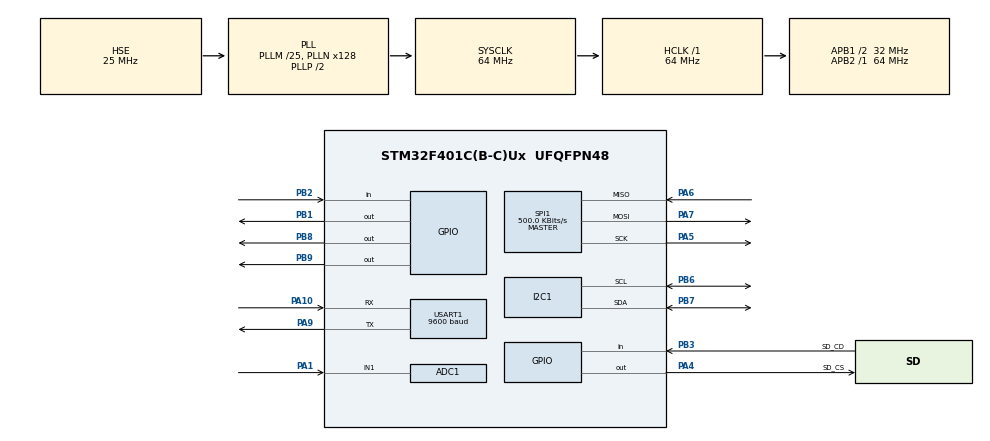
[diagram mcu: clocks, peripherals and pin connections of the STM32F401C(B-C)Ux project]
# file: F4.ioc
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Mcu.Family=STM32F4
PA6.Mode=Full_Duplex_Master
RCC.CortexFreq_Value=64000000
SPI1.VirtualType=VM_MASTER
USART1.BaudRate=9600
RCC.SYSCLKSource=RCC_SYSCLKSOURCE_PLLCLK
ProjectManager.StackSize=0x400
VP_FREERTOS_VS_CMSIS_V2.Mode=CMSIS_V2
NVIC.ADC_IRQn=true\:5\:0\:false\:true\:true\:2\:true\:true\:true
PH0\ -\ OSC_IN.Signal=RCC_OSC_IN
SPI1.Direction=SPI_DIRECTION_2LINES
RCC.HCLKFreq_Value=64000000
RCC.APB2TimFreq_Value=64000000
PB6.Signal=I2C1_SCL
PB6.Mode=I2C
SPI1.CalculateBaudRate=500.0 KBits/s
FREERTOS.configMINIMAL_STACK_SIZE=64
RCC.AHBFreq_Value=64000000
ADC1.Channel-0\#ChannelRegularConversion=ADC_CHANNEL_1
RCC.HSE_VALUE=25000000
PB2.Signal=GPIO_Input
PC14-OSC32_IN.Mode=LSE-External-Oscillator
PA14.Mode=Serial_Wire
PB7.Signal=I2C1_SDA
ADC1.SamplingTime-0\#ChannelRegularConversion=ADC_SAMPLETIME_3CYCLES
PB9.Signal=GPIO_Output
Mcu.Package=UFQFPN48
PB1.Signal=GPIO_Output
PA6.Signal=SPI1_MISO
NVIC.TimeBase=TIM3_IRQn
NVIC.TimeBaseIP=TIM3
PA10.Signal=USART1_RX
SH.ADCx_IN1.0=ADC1_IN1,IN1
RCC.APB1TimFreq_Value=64000000
NVIC.USART1_IRQn=true\:5\:0\:true\:true\:true\:1\:false\:true\:true
SPI1.BaudRatePrescaler=SPI_BAUDRATEPRESCALER_128
PA4.GPIO_Label=SD_CS
PA5.Mode=Full_Duplex_Master
PB3.GPIO_Label=SD_CD
RCC.PLLSourceVirtual=RCC_PLLSOURCE_HSE
PC15-OSC32_OUT.Mode=LSE-External-Oscillator
FREERTOS.Tasks01=defaultTask,24,64,StartDefaultTask,Default,NULL,Dynamic,NULL,NULL;DrawOnOledTask,8,1024,StartDrawing,Default,NULL,Dynamic,NULL,NULL;ActivityTask,8,512,StartActivityTask,Default,NULL,Dynamic,NULL,NULL;readBattery,8,128,StartReadBattery,Default,NULL,Dynamic,NULL,NULL
ADC1.Rank-0\#ChannelRegularConversion=1
PA7.Mode=Full_Duplex_Master
PA10.Mode=Asynchronous
PH1\ -\ OSC_OUT.Mode=HSE-External-Oscillator
RCC.APB1CLKDivider=RCC_HCLK_DIV2
PC14-OSC32_IN.Signal=RCC_OSC32_IN
PA13.Signal=SYS_JTMS-SWDIO
PA9.Mode=Asynchronous
VP_SYS_VS_tim3.Mode=TIM3
PH0\ -\ OSC_IN.Mode=HSE-External-Oscillator
ProjectManager.TargetToolchain=STM32CubeIDE
I2C1.I2C_Mode=I2C_Fast
PA9.Signal=USART1_TX
PC15-OSC32_OUT.Signal=RCC_OSC32_OUT
PA1.Signal=ADCx_IN1
VP_FATFS_VS_Generic.Mode=User_defined
PA5.Signal=SPI1_SCK
PH1\ -\ OSC_OUT.Signal=RCC_OSC_OUT
board=custom
RCC.VCOOutputFreq_Value=128000000
NVIC.TIM3_IRQn=true\:0\:0\:false\:false\:true\:false\:false\:true
RCC.APB2Freq_Value=64000000
SPI1.Mode=SPI_MODE_MASTER
PA13.Mode=Serial_Wire
Mcu.Name=STM32F401C(B-C)Ux
RCC.48MHZClocksFreq_Value=25600000
PB3.Signal=GPIO_Input
PA4.Signal=GPIO_Output
RCC.SYSCLKFreq_VALUE=64000000
ADC1.master=1
USART1.VirtualMode=VM_ASYNC
PB7.Mode=I2C
PA14.Signal=SYS_JTCK-SWCLK
ProjectManager.HeapSize=0x200
RCC.HSI_VALUE=16000000
RCC.PLLQ=5
NVIC.PriorityGroup=NVIC_PRIORITYGROUP_4
ADC1.NbrOfConversionFlag=1
RCC.PLLM=25
RCC.PLLN=128
PB8.Signal=GPIO_Output
RCC.APB1Freq_Value=32000000
PA7.Signal=SPI1_MOSI

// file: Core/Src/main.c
/* USER CODE BEGIN Header */
/**
  ******************************************************************************
  * @file           : main.c
  * @brief          : Main program body
  ******************************************************************************
  * @attention
  *
  * <h2><center>&copy; Copyright (c) 2021 STMicroelectronics.
  * All rights reserved.</center></h2>
  *
  * This software component is licensed by ST under Ultimate Liberty license
  * SLA0044, the "License"; You may not use this file except in compliance with
  * the License. You may obtain a copy of the License at:
  *                             www.st.com/SLA0044
  *
  ******************************************************************************
  */
/* USER CODE END Header */
#include "main.h"
#include "cmsis_os.h"
#include "adc.h"
#include "fatfs.h"
#include "i2c.h"
#include "spi.h"
#include "usart.h"
#include "gpio.h"

/* USER CODE BEGIN Includes */

#include "sdCard.h"
#include "ssd1306.h"
#include "fonts.h"
#include "gps.h"
#include "FreeRTOS.h"

/* USER CODE END Includes */

void SystemClock_Config(void);
void MX_FREERTOS_Init(void);
static void MX_NVIC_Init(void);

int main(void)
{

  /* MCU Configuration--------------------------------------------------------*/

  /* Reset of all peripherals, Initializes the Flash interface and the Systick. */
  HAL_Init();

  /* Configure the system clock */
  SystemClock_Config();

  /* Initialize all configured peripherals */
  MX_GPIO_Init();
  MX_I2C1_Init();
  MX_SPI1_Init();
  MX_USART1_UART_Init();
  MX_ADC1_Init();
  MX_FATFS_Init();

  /* Initialize interrupts */
  MX_NVIC_Init();
  /* USER CODE BEGIN 2 */
  GPS_Init();
  SSD1306_Init();
  SSD1306_Clear();
  SSD1306_UpdateScreen();
  HAL_Delay(1000);
  if(initSdCard())
  {
	  HAL_GPIO_WritePin(GPIOB, GPIO_PIN_8, SET);
	  HAL_GPIO_WritePin(GPIOB, GPIO_PIN_9, RESET);
  } else
  {
	  HAL_GPIO_WritePin(GPIOB, GPIO_PIN_9, SET);
	  HAL_GPIO_WritePin(GPIOB, GPIO_PIN_8, RESET);
  }

  __HAL_UART_ENABLE_IT(&huart1, UART_FLAG_RXNE);
  __HAL_ADC_ENABLE_IT(&hadc1, ADC_FLAG_EOC);

  HAL_ADC_Start_IT(&hadc1);

  writeFile("testFile.txt", "HELLO WORLD!");
  HAL_Delay(1000);
  activityToSD("TESTTIME.txt", "Hello there!");
    /* USER CODE END 2 */

  /* Init scheduler */
  osKernelInitialize();  /* Call init function for freertos objects (in freertos.c) */
  MX_FREERTOS_Init();
  /* Start scheduler */
  osKernelStart();

  /* We should never get here as control is now taken by the scheduler */
  /* Infinite loop */
  while (1)
  {

  }
}

void SystemClock_Config(void)
{
  RCC_OscInitTypeDef RCC_OscInitStruct = {0};
  RCC_ClkInitTypeDef RCC_ClkInitStruct = {0};

  /** Configure the main internal regulator output voltage
  */
  __HAL_RCC_PWR_CLK_ENABLE();
  __HAL_PWR_VOLTAGESCALING_CONFIG(PWR_REGULATOR_VOLTAGE_SCALE2);
  /** Initializes the RCC Oscillators according to the specified parameters
  * in the RCC_OscInitTypeDef structure.
  */
  RCC_OscInitStruct.OscillatorType = RCC_OSCILLATORTYPE_HSE;
  RCC_OscInitStruct.HSEState = RCC_HSE_ON;
  RCC_OscInitStruct.PLL.PLLState = RCC_PLL_ON;
  RCC_OscInitStruct.PLL.PLLSource = RCC_PLLSOURCE_HSE;
  RCC_OscInitStruct.PLL.PLLM = 25;
  RCC_OscInitStruct.PLL.PLLN = 128;
  RCC_OscInitStruct.PLL.PLLP = RCC_PLLP_DIV2;
  RCC_OscInitStruct.PLL.PLLQ = 5;
  if (HAL_RCC_OscConfig(&RCC_OscInitStruct) != HAL_OK)
  {
    Error_Handler();
  }
  /** Initializes the CPU, AHB and APB buses clocks
  */
  RCC_ClkInitStruct.ClockType = RCC_CLOCKTYPE_HCLK|RCC_CLOCKTYPE_SYSCLK
                              |RCC_CLOCKTYPE_PCLK1|RCC_CLOCKTYPE_PCLK2;
  RCC_ClkInitStruct.SYSCLKSource = RCC_SYSCLKSOURCE_PLLCLK;
  RCC_ClkInitStruct.AHBCLKDivider = RCC_SYSCLK_DIV1;
  RCC_ClkInitStruct.APB1CLKDivider = RCC_HCLK_DIV2;
  RCC_ClkInitStruct.APB2CLKDivider = RCC_HCLK_DIV1;

  if (HAL_RCC_ClockConfig(&RCC_ClkInitStruct, FLASH_LATENCY_2) != HAL_OK)
  {
    Error_Handler();
  }
}

/**
  * @brief NVIC Configuration.
  * @retval None
  */
static void MX_NVIC_Init(void)
{
  /* USART1_IRQn interrupt configuration */
  HAL_NVIC_SetPriority(USART1_IRQn, 5, 0);
  HAL_NVIC_EnableIRQ(USART1_IRQn);
  /* ADC_IRQn interrupt configuration */
  HAL_NVIC_SetPriority(ADC_IRQn, 5, 0);
  HAL_NVIC_EnableIRQ(ADC_IRQn);
}

 /**
  * @brief  Period elapsed callback in non blocking mode
  * @note   This function is called  when TIM3 interrupt took place, inside
  * HAL_TIM_IRQHandler(). It makes a direct call to HAL_IncTick() to increment
  * a global variable "uwTick" used as application time base.
  * @param  htim : TIM handle
  * @retval None
  */
void HAL_TIM_PeriodElapsedCallback(TIM_HandleTypeDef *htim)
{
  if (htim->Instance == TIM3) {
    HAL_IncTick();
  }
}

void Error_Handler(void)
{
  __disable_irq();
  while (1)
  {
  }
}

/************************ (C) COPYRIGHT STMicroelectronics *****END OF FILE****/

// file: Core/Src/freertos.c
/* USER CODE BEGIN Header */
/**
  ******************************************************************************
  * File Name          : freertos.c
  * Description        : Code for freertos applications
  ******************************************************************************
  * @attention
  *
  * <h2><center>&copy; Copyright (c) 2021 STMicroelectronics.
  * All rights reserved.</center></h2>
  *
  * This software component is licensed by ST under Ultimate Liberty license
  * SLA0044, the "License"; You may not use this file except in compliance with
  * the License. You may obtain a copy of the License at:
  *                             www.st.com/SLA0044
  *
  ******************************************************************************
  */
/* USER CODE END Header */

#include "FreeRTOS.h"
#include "task.h"
#include "main.h"
#include "cmsis_os.h"

/* USER CODE BEGIN Includes */

#include "ssd1306.h"
#include "fonts.h"
#include "test.h"
#include "stdio.h"
#include "gps.h"
#include "usart.h"
#include "adc.h"
#include <stdlib.h>
#include <stdbool.h>
#include <string.h>
#include "sdCard.h"
#include "activity.h"

/* USER CODE END Includes */

/* USER CODE BEGIN PD */

#define CALCULATEPERCENTAGE 0
#define CALCULATEVOLTAGE 1

/* USER CODE END PD */

/* USER CODE BEGIN Variables */

extern uint16_t ADCValue;
extern GPS_t GPS;
extern Activity_T CurrentActivity;
float batteryPer = 0, batteryVol = 0;

/* USER CODE END Variables */
/* Definitions for defaultTask */
osThreadId_t defaultTaskHandle;
const osThreadAttr_t defaultTask_attributes = {
  .name = "defaultTask",
  .stack_size = 64 * 4,
  .priority = (osPriority_t) osPriorityNormal,
};
/* Definitions for DrawOnOledTask */
osThreadId_t DrawOnOledTaskHandle;
const osThreadAttr_t DrawOnOledTask_attributes = {
  .name = "DrawOnOledTask",
  .stack_size = 1024 * 4,
  .priority = (osPriority_t) osPriorityLow,
};
/* Definitions for ActivityTask */
osThreadId_t ActivityTaskHandle;
const osThreadAttr_t ActivityTask_attributes = {
  .name = "ActivityTask",
  .stack_size = 512 * 4,
  .priority = (osPriority_t) osPriorityLow,
};
/* Definitions for readBattery */
osThreadId_t readBatteryHandle;
const osThreadAttr_t readBattery_attributes = {
  .name = "readBattery",
  .stack_size = 128 * 4,
  .priority = (osPriority_t) osPriorityLow,
};

/* USER CODE BEGIN FunctionPrototypes */

float calculateBattery(uint8_t whatCalculation);

/* USER CODE END FunctionPrototypes */

void StartDefaultTask(void *argument);
void StartDrawing(void *argument);
void StartActivityTask(void *argument);
void StartReadBattery(void *argument);

void MX_FREERTOS_Init(void); /* (MISRA C 2004 rule 8.1) */

void MX_FREERTOS_Init(void) {

  /* Create the thread(s) */
  /* creation of defaultTask */
  defaultTaskHandle = osThreadNew(StartDefaultTask, NULL, &defaultTask_attributes);

  /* creation of DrawOnOledTask */
  DrawOnOledTaskHandle = osThreadNew(StartDrawing, NULL, &DrawOnOledTask_attributes);

  /* creation of ActivityTask */
  ActivityTaskHandle = osThreadNew(StartActivityTask, NULL, &ActivityTask_attributes);

  /* creation of readBattery */
  readBatteryHandle = osThreadNew(StartReadBattery, NULL, &readBattery_attributes);

}

void StartDefaultTask(void *argument)
{
  for(;;)
  {
    osDelay(1);
  }
}

void StartDrawing(void *argument)
{
  /* USER CODE BEGIN StartDrawing */
  /* Infinite loop */
  for(;;)
  {
	char numbers[10];
	char *currentTime;

	SSD1306_GotoXY (0,0);
	sprintf(numbers, "batt: %.0f", batteryPer);
	SSD1306_Puts (numbers, &Font_7x10, 1);

	SSD1306_GotoXY (80,0);
	SSD1306_Puts ("ADM:", &Font_7x10, 1);

	SSD1306_GotoXY (110, 0);
	sprintf(numbers, "%d", CurrentActivity.activeDailyMinutes);
	SSD1306_Puts(numbers, &Font_7x10, 1);

	SSD1306_GotoXY (0, 25);
	sprintf(numbers, "%.2f", GPS.speed_km);
	SSD1306_Puts(numbers, &Font_11x18, 1);
	SSD1306_GotoXY (50,31);
	SSD1306_Puts ("km/u", &Font_7x10, 1);

	SSD1306_GotoXY (0,10);
	//SSD1306_Puts(getActivity(), &Font_7x10, 1);
	SSD1306_Puts(activityToString(CurrentActivity.lastActiveMinute), &Font_7x10, 1);
	SSD1306_Puts("          ",&Font_7x10, 1);

	currentTime = getTime();
	SSD1306_GotoXY (0, 45);
	SSD1306_Puts(currentTime, &Font_7x10, 1);

	free(currentTime);

	SSD1306_GotoXY (80,10);
	SSD1306_Puts ("AL:", &Font_7x10, 1);

	SSD1306_GotoXY (110, 10);
	sprintf(numbers, "%d", CurrentActivity.length);
	SSD1306_Puts(numbers, &Font_7x10, 1);

	SSD1306_UpdateScreen();

    osDelay(1000);
  }
  /* USER CODE END StartDrawing */
}

void StartActivityTask(void *argument)
{
  /* USER CODE BEGIN StartActivityTask */
	static float time;
	//static uint8_t activityPM[20];
	static uint8_t counter = 0, counterPM = 0, counterPauze = 0;
	static uint8_t trackActivity[4];
	char* SDString = "";
  /* Infinite loop */
  for(;;)
  {
	  getActivity();

	  	if(time != GPS.utc_time)
	  	{
	  		time = GPS.utc_time;

	  		if(counter < 60)	//one minute
	  		{
	  			switch (CurrentActivity.currentActivity) {
	  				case noMovement:
	  					trackActivity[noMovement]++;
	  					break;
	  				case walking:
	  					trackActivity[walking]++;
	  					break;
	  				case running:
	  					trackActivity[running]++;
	  					break;
	  				default:
	  					trackActivity[unknown]++;
	  					break;
	  			}

	  			counter++;
	  		}
	  		else
	  		{
	  			uint8_t current = 0; //index = 0;

	  			for(int i = 0; i < 4; i++)
	  			{
	  				if(current <= trackActivity[i])
	  				{
	  					current = trackActivity[i];
	  					trackActivity[i] = 0;
	  					CurrentActivity.lastActiveMinute = i;
	  				}
	  			}

	  			if(counterPM < 0Xff)
	  			{
	  				if((CurrentActivity.lastActiveMinute == walking || CurrentActivity.lastActiveMinute == running))
	  				{
	  					if(counterPM == 0)
	  					{
	  						writeStartToSD("MinActi.txt");
	  					}
	  					CalculateActivityAverage(CurrentActivity.lastActiveMinute);
	  					CurrentActivity.length++;
	  					CurrentActivity.activeDailyMinutes++;
	  					SDString = activityToString(CurrentActivity.lastActiveMinute);
						if(!activityToSD("MinActi.txt", SDString))
						{
							HAL_GPIO_WritePin(GPIOB, GPIO_PIN_9, SET);
						}
	  					counterPM++;
	  				}
	  				else if(counterPM != 0 && (CurrentActivity.lastActiveMinute == noMovement || CurrentActivity.lastActiveMinute == unknown))
	  				{
	  					if(counterPauze < 2)
	  					{
	  						CalculateActivityAverage(CurrentActivity.lastActiveMinute);
	  						counterPauze++;
	  						counterPM++;
	  					}
	  					else
	  					{
	  						counterPM = 0Xff;
	  						counterPauze = 0;
	  					}
	  				}
	  			}
	  			else
	  			{
	  				//calculate the avarage for total activity
	  				//and write total activity to sd

	  				current = 0;
	  				for(int i = 0; i < sizeof(CurrentActivity.activityTotal); i++)
					{
						if(current <= CurrentActivity.activityTotal[i])
						{
							current = CurrentActivity.activityTotal[i];
							CurrentActivity.activityTotal[i] = 0;
							CurrentActivity.totalActivity = i;
						}
					}
	  				char numbers[10];
					sprintf(numbers, "%d", CurrentActivity.length);
					SDString = activityToString(CurrentActivity.totalActivity);
	  				totalActivityToSD("MinActi.txt", numbers, SDString);

	  				//lengte van de activiteit toevoegen
	  				CurrentActivity.previousLength = CurrentActivity.length;
	  				CurrentActivity.length = 0;
	  				counterPM = 0;
	  				counterPauze = 0;
	  			}
	  			counter = 0;
	  		}

	  	}

	      osDelay(100);
  }
  /* USER CODE END StartActivityTask */
}

void StartReadBattery(void *argument)
{
  /* USER CODE BEGIN StartReadBattery */
  /* Infinite loop */
  for(;;)
  {
	batteryPer = calculateBattery(CALCULATEPERCENTAGE);
	batteryVol = calculateBattery(CALCULATEVOLTAGE);
	if(batteryVol < 3.0)
	{
		HAL_GPIO_WritePin(GPIOB, GPIO_PIN_9, SET);
	} else
	{
		HAL_GPIO_WritePin(GPIOB, GPIO_PIN_9, RESET);
	}
    osDelay(5000);
  }
  /* USER CODE END StartReadBattery */
}

/* USER CODE BEGIN Application */

float calculateBattery(uint8_t whatCalculation)
{
	uint16_t localADC = ADCValue;	//grab the last conversion value
	HAL_ADC_Start_IT(&hadc1);		//start a new conversion already so it's ready for the next time the function is called
	if(whatCalculation == CALCULATEPERCENTAGE)
	{
		return 71.428571428571 * ((localADC / (float)4095) * 4.2) - 200;
		//return (localADC / (float)4095) * 100;
	} else if(whatCalculation == CALCULATEVOLTAGE)
	{
		return (localADC / (float)4095) * 4.2;
	}
	return -1.0;
}

/* USER CODE END Application */

/************************ (C) COPYRIGHT STMicroelectronics *****END OF FILE****/
